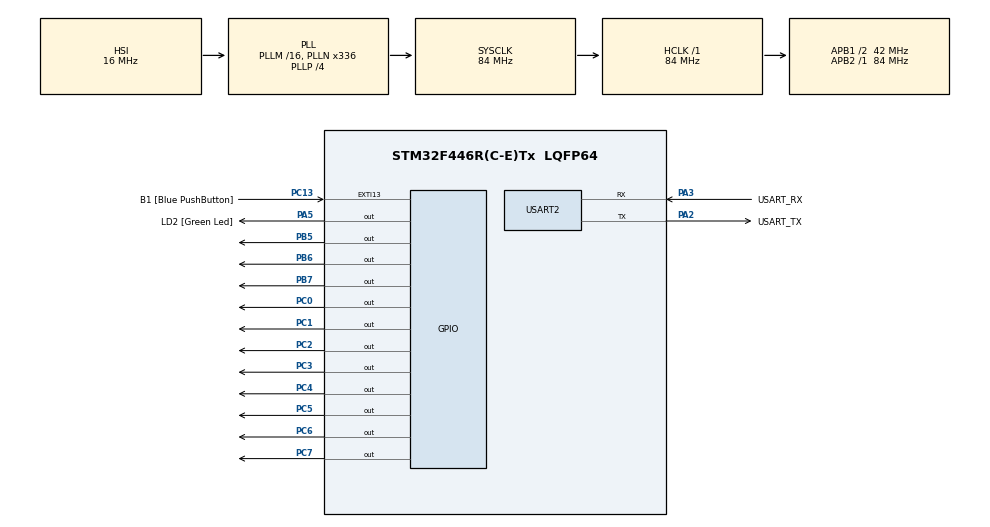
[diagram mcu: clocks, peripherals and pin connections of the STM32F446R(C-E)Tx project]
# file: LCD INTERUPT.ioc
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Mcu.Family=STM32F4
Mcu.Name=STM32F446R(C-E)Tx
Mcu.Package=LQFP64
NVIC.PriorityGroup=NVIC_PRIORITYGROUP_0
NVIC.USART2_IRQn=true\:0\:0\:false\:false\:true\:true\:true\:true
PA13.GPIO_Label=TMS
PA13.Mode=Serial_Wire
PA13.Signal=SYS_JTMS-SWDIO
PA14.GPIO_Label=TCK
PA14.Mode=Serial_Wire
PA14.Signal=SYS_JTCK-SWCLK
PA2.GPIO_Label=USART_TX
PA2.Mode=Asynchronous
PA2.Signal=USART2_TX
PA3.GPIO_Label=USART_RX
PA3.Mode=Asynchronous
PA3.Signal=USART2_RX
PA5.GPIO_Label=LD2 [Green Led]
PA5.Signal=GPIO_Output
PB3.GPIO_Label=SWO
PB3.Signal=SYS_JTDO-SWO
PB5.Signal=GPIO_Output
PB6.Signal=GPIO_Output
PB7.Signal=GPIO_Output
PC0.Signal=GPIO_Output
PC1.Signal=GPIO_Output
PC13.GPIO_Label=B1 [Blue PushButton]
PC13.GPIO_ModeDefaultEXTI=GPIO_MODE_IT_FALLING
PC13.Signal=GPXTI13
PC14-OSC32_IN.Mode=LSE-External-Oscillator
PC14-OSC32_IN.Signal=RCC_OSC32_IN
PC15-OSC32_OUT.Mode=LSE-External-Oscillator
PC15-OSC32_OUT.Signal=RCC_OSC32_OUT
PC2.Signal=GPIO_Output
PC3.Signal=GPIO_Output
PC4.Signal=GPIO_Output
PC5.Signal=GPIO_Output
PC6.Signal=GPIO_Output
PC7.Signal=GPIO_Output
PH0-OSC_IN.Mode=HSE-External-Oscillator
PH0-OSC_IN.Signal=RCC_OSC_IN
PH1-OSC_OUT.Mode=HSE-External-Oscillator
PH1-OSC_OUT.Signal=RCC_OSC_OUT
ProjectManager.HeapSize=0x200
ProjectManager.StackSize=0x400
ProjectManager.TargetToolchain=STM32CubeIDE
RCC.48MHZClocksFreq_Value=84000000
RCC.AHBFreq_Value=84000000
RCC.APB1CLKDivider=RCC_HCLK_DIV2
RCC.APB1Freq_Value=42000000
RCC.APB1TimFreq_Value=84000000
RCC.APB2Freq_Value=84000000
RCC.APB2TimFreq_Value=84000000
RCC.CortexFreq_Value=84000000
RCC.FLatency-AdvancedSettings=FLASH_LATENCY_2
RCC.HCLKFreq_Value=84000000
RCC.HSE_VALUE=8000000
RCC.HSI_VALUE=16000000
RCC.PLLN=336
RCC.PLLP=RCC_PLLP_DIV4
RCC.SYSCLKFreq_VALUE=84000000
RCC.SYSCLKSource=RCC_SYSCLKSOURCE_PLLCLK
RCC.USBFreq_Value=168000000
RCC.VCOOutputFreq_Value=336000000
USART2.VirtualMode=VM_ASYNC
board=NUCLEO-F446RE

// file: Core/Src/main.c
/* USER CODE BEGIN Header */
/**
  ******************************************************************************
  * @file           : main.c
  * @brief          : Main program body
  ******************************************************************************
  * @attention
  *
  * Copyright (c) 2025 STMicroelectronics.
  * All rights reserved.
  *
  * This software is licensed under terms that can be found in the LICENSE file
  * in the root directory of this software component.
  * If no LICENSE file comes with this software, it is provided AS-IS.
  *
  ******************************************************************************
  */
/* USER CODE END Header */
#include "main.h"

UART_HandleTypeDef huart2;

void SystemClock_Config(void);
static void MX_GPIO_Init(void);
static void MX_USART2_UART_Init(void);
/* USER CODE BEGIN 0 */
void LCD_command(unsigned char command)
{
	/* RS = 0, R/W = 0 */
	HAL_GPIO_WritePin(GPIOB, GPIO_PIN_6, GPIO_PIN_RESET); // drive R/W LOW
	HAL_GPIO_WritePin(GPIOB, GPIO_PIN_5, GPIO_PIN_RESET); // drive RS LOW
	HAL_Delay(500);

	HAL_GPIO_WritePin(GPIOC, 0xFF, GPIO_PIN_RESET); // Clear previous data
	HAL_GPIO_WritePin(GPIOC, command, GPIO_PIN_SET); // Put command on data bus

	HAL_GPIO_WritePin(GPIOB, GPIO_PIN_7, GPIO_PIN_SET);	/* pulse E high */
	HAL_Delay(0);
	HAL_GPIO_WritePin(GPIOB, GPIO_PIN_7, GPIO_PIN_RESET);/* clear E */

	if (command < 4)
		HAL_Delay(2); 				/* command 1 and 2 needs up to 1.64ms */
	else
		HAL_Delay(1);
}	// Step 3

void LCD_data(char data)
{
	HAL_GPIO_WritePin(GPIOB, GPIO_PIN_6, GPIO_PIN_RESET); // drive R/W LOW
	HAL_GPIO_WritePin(GPIOB, GPIO_PIN_5, GPIO_PIN_SET); // drive RS HIGH
	HAL_Delay(1);

	HAL_GPIO_WritePin(GPIOC, 0xFF, GPIO_PIN_RESET); // Clear previous data
	HAL_GPIO_WritePin(GPIOC, data, GPIO_PIN_SET); // Put command on data bus

	HAL_GPIO_WritePin(GPIOB, GPIO_PIN_7, GPIO_PIN_SET);	/* pulse E high */
	HAL_Delay(0);
	HAL_GPIO_WritePin(GPIOB, GPIO_PIN_7, GPIO_PIN_RESET);/* clear E */
}

void LCD_init(void)
{
		LCD_command(0x30);
		HAL_Delay(100);
		LCD_command(0x38);		/*set 8-bit data, 2-line, 5x7 font */
		LCD_command(0x06);		/*move cursor right after each char */
		LCD_command(0x01);		/*clear screen, move cursor to home */
		LCD_command(0x0F);		/*turn on display, cursor blinking */
}
char buff[16];
void LCD_string(char str[])
{
	for(int i=0;i<16;i++)
	{
		if((str[i]!=NULL)&&(str[i]!='\n')&&(str[i]!='\r'))
		{
	    LCD_data(str[i]);
		}
	    buff[i] = NULL;
	}
}
void HAL_UART_RxCpltCallback(UART_HandleTypeDef *huart)
{
	HAL_UART_Receive_IT(&huart2, buff, 15);

}

/* USER CODE END 0 */

int main(void)
{

  /* MCU Configuration--------------------------------------------------------*/

  /* Reset of all peripherals, Initializes the Flash interface and the Systick. */
  HAL_Init();

  /* Configure the system clock */
  SystemClock_Config();

  /* Initialize all configured peripherals */
  MX_GPIO_Init();
  MX_USART2_UART_Init();
  /* USER CODE BEGIN 2 */
  HAL_UART_Receive_IT(&huart2, buff, 15);
  LCD_init();

  /* USER CODE END 2 */

  /* Infinite loop */
  /* USER CODE BEGIN WHILE */
  while (1)
  {

	  LCD_command(1);
	  LCD_string(buff);
	  HAL_Delay(2000);

    /* USER CODE END WHILE */
  }
}

void SystemClock_Config(void)
{
  RCC_OscInitTypeDef RCC_OscInitStruct = {0};
  RCC_ClkInitTypeDef RCC_ClkInitStruct = {0};

  /** Configure the main internal regulator output voltage
  */
  __HAL_RCC_PWR_CLK_ENABLE();
  __HAL_PWR_VOLTAGESCALING_CONFIG(PWR_REGULATOR_VOLTAGE_SCALE3);

  /** Initializes the RCC Oscillators according to the specified parameters
  * in the RCC_OscInitTypeDef structure.
  */
  RCC_OscInitStruct.OscillatorType = RCC_OSCILLATORTYPE_HSI;
  RCC_OscInitStruct.HSIState = RCC_HSI_ON;
  RCC_OscInitStruct.HSICalibrationValue = RCC_HSICALIBRATION_DEFAULT;
  RCC_OscInitStruct.PLL.PLLState = RCC_PLL_ON;
  RCC_OscInitStruct.PLL.PLLSource = RCC_PLLSOURCE_HSI;
  RCC_OscInitStruct.PLL.PLLM = 16;
  RCC_OscInitStruct.PLL.PLLN = 336;
  RCC_OscInitStruct.PLL.PLLP = RCC_PLLP_DIV4;
  RCC_OscInitStruct.PLL.PLLQ = 2;
  RCC_OscInitStruct.PLL.PLLR = 2;
  if (HAL_RCC_OscConfig(&RCC_OscInitStruct) != HAL_OK)
  {
    Error_Handler();
  }

  /** Initializes the CPU, AHB and APB buses clocks
  */
  RCC_ClkInitStruct.ClockType = RCC_CLOCKTYPE_HCLK|RCC_CLOCKTYPE_SYSCLK
                              |RCC_CLOCKTYPE_PCLK1|RCC_CLOCKTYPE_PCLK2;
  RCC_ClkInitStruct.SYSCLKSource = RCC_SYSCLKSOURCE_PLLCLK;
  RCC_ClkInitStruct.AHBCLKDivider = RCC_SYSCLK_DIV1;
  RCC_ClkInitStruct.APB1CLKDivider = RCC_HCLK_DIV2;
  RCC_ClkInitStruct.APB2CLKDivider = RCC_HCLK_DIV1;

  if (HAL_RCC_ClockConfig(&RCC_ClkInitStruct, FLASH_LATENCY_2) != HAL_OK)
  {
    Error_Handler();
  }
}

static void MX_USART2_UART_Init(void)
{

  huart2.Instance = USART2;
  huart2.Init.BaudRate = 115200;
  huart2.Init.WordLength = UART_WORDLENGTH_8B;
  huart2.Init.StopBits = UART_STOPBITS_1;
  huart2.Init.Parity = UART_PARITY_NONE;
  huart2.Init.Mode = UART_MODE_TX_RX;
  huart2.Init.HwFlowCtl = UART_HWCONTROL_NONE;
  huart2.Init.OverSampling = UART_OVERSAMPLING_16;
  if (HAL_UART_Init(&huart2) != HAL_OK)
  {
    Error_Handler();
  }

}

static void MX_GPIO_Init(void)
{
  GPIO_InitTypeDef GPIO_InitStruct = {0};

  /* GPIO Ports Clock Enable */
  __HAL_RCC_GPIOC_CLK_ENABLE();
  __HAL_RCC_GPIOH_CLK_ENABLE();
  __HAL_RCC_GPIOA_CLK_ENABLE();
  __HAL_RCC_GPIOB_CLK_ENABLE();

  /*Configure GPIO pin Output Level */
  HAL_GPIO_WritePin(GPIOC, GPIO_PIN_0|GPIO_PIN_1|GPIO_PIN_2|GPIO_PIN_3
                          |GPIO_PIN_4|GPIO_PIN_5|GPIO_PIN_6|GPIO_PIN_7, GPIO_PIN_RESET);

  /*Configure GPIO pin Output Level */
  HAL_GPIO_WritePin(LD2_GPIO_Port, LD2_Pin, GPIO_PIN_RESET);

  /*Configure GPIO pin Output Level */
  HAL_GPIO_WritePin(GPIOB, GPIO_PIN_5|GPIO_PIN_6|GPIO_PIN_7, GPIO_PIN_RESET);

  /*Configure GPIO pin : B1_Pin */
  GPIO_InitStruct.Pin = B1_Pin;
  GPIO_InitStruct.Mode = GPIO_MODE_IT_FALLING;
  GPIO_InitStruct.Pull = GPIO_NOPULL;
  HAL_GPIO_Init(B1_GPIO_Port, &GPIO_InitStruct);

  /*Configure GPIO pins : PC0 PC1 PC2 PC3
                           PC4 PC5 PC6 PC7 */
  GPIO_InitStruct.Pin = GPIO_PIN_0|GPIO_PIN_1|GPIO_PIN_2|GPIO_PIN_3
                          |GPIO_PIN_4|GPIO_PIN_5|GPIO_PIN_6|GPIO_PIN_7;
  GPIO_InitStruct.Mode = GPIO_MODE_OUTPUT_PP;
  GPIO_InitStruct.Pull = GPIO_NOPULL;
  GPIO_InitStruct.Speed = GPIO_SPEED_FREQ_LOW;
  HAL_GPIO_Init(GPIOC, &GPIO_InitStruct);

  /*Configure GPIO pin : LD2_Pin */
  GPIO_InitStruct.Pin = LD2_Pin;
  GPIO_InitStruct.Mode = GPIO_MODE_OUTPUT_PP;
  GPIO_InitStruct.Pull = GPIO_NOPULL;
  GPIO_InitStruct.Speed = GPIO_SPEED_FREQ_LOW;
  HAL_GPIO_Init(LD2_GPIO_Port, &GPIO_InitStruct);

  /*Configure GPIO pins : PB5 PB6 PB7 */
  GPIO_InitStruct.Pin = GPIO_PIN_5|GPIO_PIN_6|GPIO_PIN_7;
  GPIO_InitStruct.Mode = GPIO_MODE_OUTPUT_PP;
  GPIO_InitStruct.Pull = GPIO_NOPULL;
  GPIO_InitStruct.Speed = GPIO_SPEED_FREQ_LOW;
  HAL_GPIO_Init(GPIOB, &GPIO_InitStruct);

}

void Error_Handler(void)
{
  __disable_irq();
  while (1)
  {
  }
}
